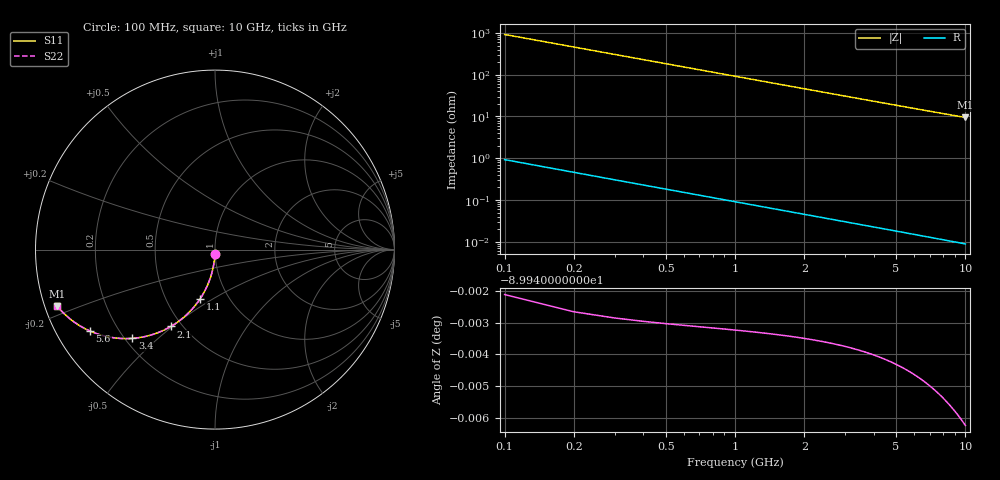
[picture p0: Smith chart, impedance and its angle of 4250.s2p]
# Hz S RI R 50.00
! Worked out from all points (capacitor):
!   100 points, 100 MHz to 10 GHz, reference 50 ohm
!   read as one part in shunt: C = 1.73 pF near 100 MHz
!   lowest |Z| = 9.48 ohm at 10 GHz (marker M1)
!   S11 on the Smith chart (normalised r, x): 100 MHz: 1.00, -0.05; 1.1 GHz: 0.74, -0.44; 2.1 GHz: 0.44, -0.49; 3.4 GHz: 0.23, -0.42; 5.6 GHz: 0.10, -0.29; 10 GHz: 0.03, -0.17
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1e8  -0.00075 -0.0271  0.9992 -0.0273  0.9992 -0.0273  -0.00075 -0.0271
2e8  -0.00299 -0.0541  0.997 -0.0545  0.997 -0.0545  -0.00299 -0.0541
3e8  -0.00668 -0.0808  0.9933 -0.0814  0.9933 -0.0814  -0.00668 -0.0808
4e8  -0.0118 -0.1072  0.9882 -0.108  0.9882 -0.108  -0.0118 -0.1072
5e8  -0.0183 -0.1331  0.9817 -0.134  0.9817 -0.134  -0.0183 -0.1331
6e8  -0.0261 -0.1584  0.9739 -0.1596  0.9739 -0.1596  -0.0261 -0.1584
7e8  -0.0352 -0.1831  0.9648 -0.1844  0.9648 -0.1844  -0.0352 -0.1831
9e8  -0.0567 -0.23  0.9432 -0.2318  0.9432 -0.2318  -0.0567 -0.23
1.1e9  -0.0824 -0.2734  0.9176 -0.2755  0.9176 -0.2755  -0.0824 -0.2734
1.4e9  -0.1268 -0.3309  0.8732 -0.3336  0.8732 -0.3336  -0.1268 -0.3309
1.8e9  -0.1933 -0.3927  0.8066 -0.3962  0.8066 -0.3962  -0.1933 -0.3927
2.1e9  -0.2458 -0.428  0.7542 -0.4321  0.7542 -0.4321  -0.2458 -0.428
2.4e9  -0.2983 -0.4547  0.7016 -0.4594  0.7016 -0.4594  -0.2983 -0.4547
2.7e9  -0.3496 -0.4737  0.6503 -0.479  0.6503 -0.479  -0.3496 -0.4737
3.4e9  -0.4597 -0.4946  0.5402 -0.5012  0.5402 -0.5012  -0.4597 -0.4946
4.2e9  -0.5644 -0.4912  0.4355 -0.4994  0.4355 -0.4994  -0.5644 -0.4912
5.1e9  -0.656 -0.4695  0.3439 -0.4795  0.3439 -0.4795  -0.656 -0.4695
5.6e9  -0.6968 -0.4536  0.3031 -0.4647  0.3031 -0.4647  -0.6968 -0.4536
6.7e9  -0.7666 -0.4158  0.2332 -0.4291  0.2332 -0.4291  -0.7666 -0.4158
7.5e9  -0.8045 -0.3885  0.1954 -0.4035  0.1954 -0.4035  -0.8045 -0.3885
8.4e9  -0.8377 -0.3597  0.1621 -0.3766  0.1621 -0.3766  -0.8377 -0.3597
1e10  -0.8798 -0.3144  0.1199 -0.3346  0.1199 -0.3346  -0.8798 -0.3144
